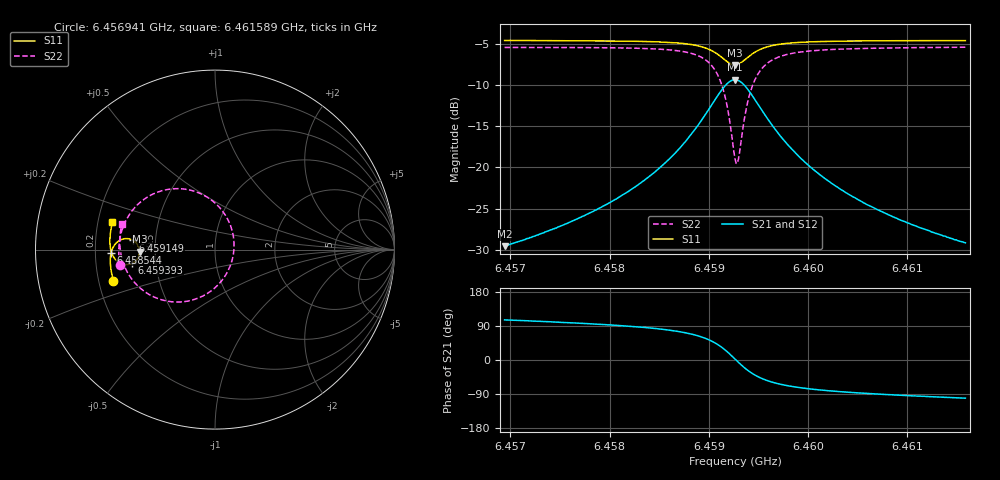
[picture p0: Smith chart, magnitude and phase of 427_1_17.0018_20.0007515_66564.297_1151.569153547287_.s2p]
#  HZ  S  RI  R  50.00
! Rohde & Schwarz Vector Network Analyzer
! Rohde-Schwarz,ZNB20-2Port,1311601062101988,3.16
! Created: UTC 3/20/2024, 11:11:11 PM
! freq[Hz]  re:S11  im:S11  re:S21  im:S21  re:S12  im:S12  re:S22  im:S22
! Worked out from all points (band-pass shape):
!   401 points, 6.456941 GHz to 6.461589 GHz, reference 50 ohm
!   highest |S21| = -9.33 dB at 6.459265 GHz (marker M1); lowest = -29.6 dB at 6.456941 GHz (marker M2)
!   |S21| within 3 dB of the highest: 6.459032 GHz to 6.459498 GHz (465.2 kHz wide, 0.0072 % of centre)
!   lowest |S11| = -7.5 dB at 6.459265 GHz (marker M3), VSWR 2.45, Z = 20.4 - j0.543 ohm
!   |S11| at or under -10 dB: nowhere
!   |S22| runs from -19.5 to -5.4 dB; largest |S21 - S12| = 0.013
!   S11 on the Smith chart (normalised r, x): 6.456941 GHz: 0.26, -0.14; 6.458544 GHz: 0.27, -0.01; 6.459149 GHz: 0.37, +0.05; 6.459393 GHz: 0.37, -0.07; 6.461589 GHz: 0.26, +0.12
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6.4569407e9  -0.5658 -0.175  -0.00904 0.0319  -0.00732 0.032  -0.5299 -0.088
6.4577193e9  -0.5804 -0.1072  -0.00584 0.0499  -0.00331 0.0492  -0.5362 0.00212
6.4581725e9  -0.5835 -0.0618  0.000509 0.0703  0.00377 0.0691  -0.5275 0.0737
6.4584978e9  -0.5799 -0.0229  0.0136 0.0976  0.0175 0.095  -0.5037 0.1469
6.4585443e9  -0.5785 -0.0166  0.017 0.1031  0.021 0.1002  -0.4975 0.1601
6.4587535e9  -0.5664 0.0152  0.0428 0.1345  0.0467 0.1297  -0.4495 0.2311
6.4589046e9  -0.5453 0.0415  0.0846 0.1645  0.0881 0.1581  -0.3719 0.2954
6.4590556e9  -0.4996 0.0611  0.1756 0.1836  0.1767 0.1763  -0.206 0.3397
6.4591486e9  -0.4555 0.0512  0.2647 0.1531  0.2648 0.1472  -0.0413 0.2908
6.4591951e9  -0.4346 0.0327  0.3079 0.111  0.3092 0.1057  0.041 0.2159
6.4592648e9  -0.42 -0.0109  0.3411 0.0151  0.3446 0.00833  0.1059 0.0387
6.459288e9  -0.4217 -0.0265  0.3391 -0.0198  0.3429 -0.0279  0.1024 -0.0274
6.4592997e9  -0.4238 -0.0342  0.3357 -0.0366  0.3393 -0.0455  0.0953 -0.0597
6.4593461e9  -0.4392 -0.0599  0.3078 -0.0959  0.3098 -0.1077  0.0389 -0.1714
6.4593926e9  -0.461 -0.076  0.2661 -0.1367  0.2654 -0.1498  -0.0446 -0.2458
6.4594856e9  -0.5038 -0.0826  0.1825 -0.1679  0.1765 -0.1791  -0.2111 -0.2921
6.4596367e9  -0.5473 -0.0622  0.0955 -0.1544  0.0872 -0.1605  -0.3768 -0.244
6.459811e9  -0.5696 -0.0327  0.0491 -0.1253  0.0417 -0.1277  -0.4603 -0.1685
6.4600434e9  -0.5811 0.000849  0.0222 -0.0961  0.0166 -0.0966  -0.5044 -0.0916
6.460392e9  -0.5856 0.0421  0.0064 -0.0695  0.00238 -0.0691  -0.5259 -0.013
6.460822e9  -0.5836 0.085  -0.00128 -0.0512  -0.00418 -0.0504  -0.5302 0.0549
6.4615889e9  -0.5711 0.1528  -0.00648 -0.0342  -0.00812 -0.0332  -0.5189 0.1446
